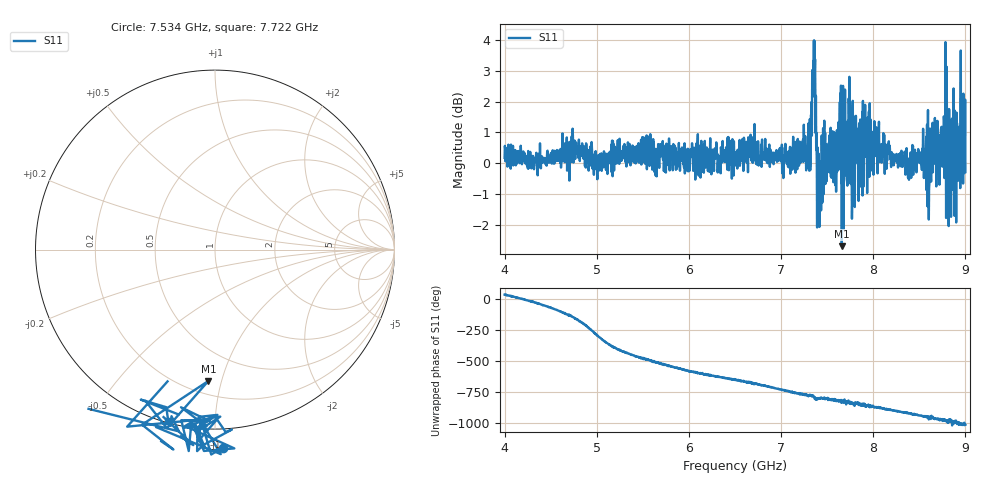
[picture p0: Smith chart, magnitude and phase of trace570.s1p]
! Created with skrf 1.8.0 (http://scikit-rf.org).
# Hz S RI R 50.0
!freq ReS11 ImS11
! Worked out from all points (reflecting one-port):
!   1601 points, 4 GHz to 9 GHz, reference 50 ohm
!   lowest |S11| = -2.7 dB at 7.659 GHz (marker M1), VSWR 6.48, Z = 14.4 - j45.4 ohm
!   phase of S11 starts at 33 deg and turns -1045 deg over the sweep
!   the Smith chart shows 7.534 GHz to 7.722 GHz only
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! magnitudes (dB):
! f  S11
! 4 GHz  0.2
! 4.625 GHz  0.5
! 4.753 GHz  0.4
! 5.019 GHz  0.0
! 5.25 GHz  0.6
! 5.875 GHz  -0.1
! 6.5 GHz  0.3
! 7.125 GHz  0.5
! 7.294 GHz  -0.1
! 7.353 GHz  3.0
! 7.412 GHz  -0.5
! 7.466 GHz  0.9
! 7.538 GHz  1.2
! 7.591 GHz  0.0
! 7.625 GHz  -0.2
! 7.659 GHz  -2.7
! 7.75 GHz  0.1
! 7.775 GHz  1.8
! 7.8 GHz  -1.4
! 7.928 GHz  0.5
! 8.375 GHz  -0.2
! 8.559 GHz  0.0
! 8.603 GHz  -1.8
! 8.644 GHz  1.3
! 8.759 GHz  0.3
! 8.875 GHz  1.3
! 8.972 GHz  0.3
! 9 GHz  -0.3
